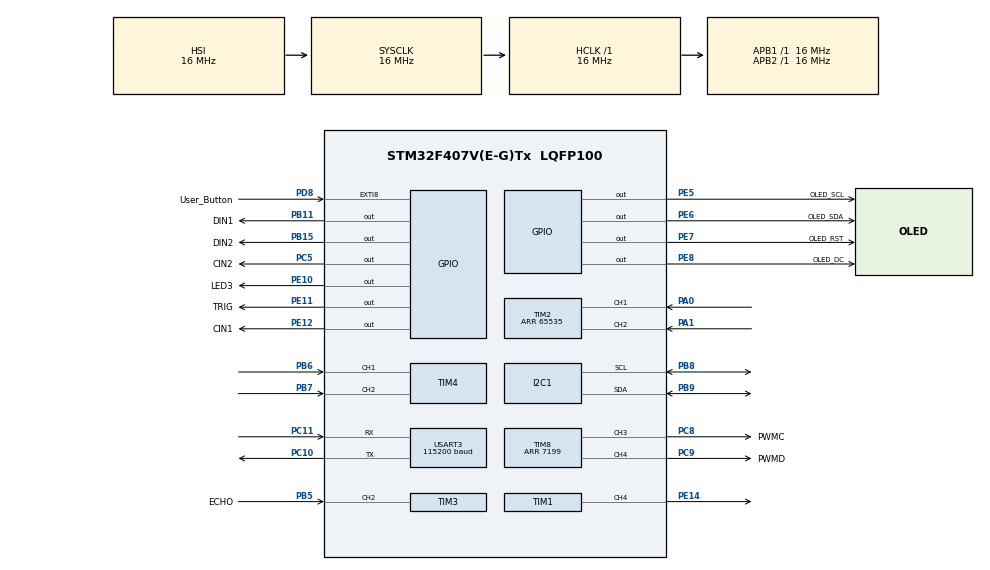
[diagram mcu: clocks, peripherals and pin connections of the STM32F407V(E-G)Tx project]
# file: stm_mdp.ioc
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FREERTOS.Tasks01=defaultTask,24,128,StartDefaultTask,Default,NULL,Dynamic,NULL,NULL;oledTask,8,128,oledDisplayTask,Default,NULL,Dynamic,NULL,NULL;gyroTask,8,128,StartGyroTask,Default,NULL,Dynamic,NULL,NULL
FREERTOS.configUSE_NEWLIB_REENTRANT=1
Mcu.Family=STM32F4
Mcu.Name=STM32F407V(E-G)Tx
Mcu.Package=LQFP100
NVIC.EXTI9_5_IRQn=true\:5\:0\:false\:false\:true\:true\:true\:true\:true
NVIC.PriorityGroup=NVIC_PRIORITYGROUP_4
NVIC.TIM1_TRG_COM_TIM11_IRQn=true\:15\:0\:false\:false\:true\:false\:false\:true\:true
NVIC.TIM1_UP_TIM10_IRQn=true\:5\:0\:false\:false\:true\:true\:true\:true\:true
NVIC.TIM2_IRQn=true\:5\:0\:false\:false\:true\:true\:true\:true\:true
NVIC.TIM3_IRQn=true\:5\:0\:false\:false\:true\:true\:true\:true\:true
NVIC.TIM4_IRQn=true\:5\:0\:false\:false\:true\:true\:true\:true\:true
NVIC.TIM6_DAC_IRQn=true\:5\:0\:false\:false\:true\:true\:true\:true\:true
NVIC.TIM7_IRQn=true\:5\:0\:false\:false\:true\:true\:true\:true\:true
NVIC.TIM8_UP_TIM13_IRQn=true\:5\:0\:false\:false\:true\:true\:true\:true\:true
NVIC.TimeBase=TIM1_TRG_COM_TIM11_IRQn
NVIC.TimeBaseIP=TIM11
NVIC.USART3_IRQn=true\:5\:0\:false\:false\:true\:true\:true\:true\:true
PA0-WKUP.Signal=S_TIM2_CH1_ETR
PA1.Signal=S_TIM2_CH2
PA13.Mode=Serial_Wire
PA13.Signal=SYS_JTMS-SWDIO
PA14.Mode=Serial_Wire
PA14.Signal=SYS_JTCK-SWCLK
PB11.GPIO_Label=DIN1
PB11.GPIO_Speed=GPIO_SPEED_FREQ_HIGH
PB11.Signal=GPIO_Output
PB15.GPIO_Label=DIN2
PB15.GPIO_Speed=GPIO_SPEED_FREQ_HIGH
PB15.Signal=GPIO_Output
PB5.GPIO_Label=ECHO
PB5.Signal=S_TIM3_CH2
PB6.Signal=S_TIM4_CH1
PB7.Signal=S_TIM4_CH2
PB8.Mode=I2C
PB8.Signal=I2C1_SCL
PB9.Mode=I2C
PB9.Signal=I2C1_SDA
PC10.Mode=Asynchronous
PC10.Signal=USART3_TX
PC11.Mode=Asynchronous
PC11.Signal=USART3_RX
PC5.GPIO_Label=CIN2
PC5.GPIO_Speed=GPIO_SPEED_FREQ_HIGH
PC5.Signal=GPIO_Output
PC8.GPIO_Label=PWMC
PC8.Signal=S_TIM8_CH3
PC9.GPIO_Label=PWMD
PC9.Signal=S_TIM8_CH4
PD8.GPIO_Label=User_Button
PD8.GPIO_ModeDefaultEXTI=GPIO_MODE_IT_RISING
PD8.Signal=GPXTI8
PE10.GPIO_Label=LED3
PE10.Signal=GPIO_Output
PE11.GPIO_Label=TRIG
PE11.Signal=GPIO_Output
PE12.GPIO_Label=CIN1
PE12.GPIO_Speed=GPIO_SPEED_FREQ_HIGH
PE12.Signal=GPIO_Output
PE14.GPIO_Speed=GPIO_SPEED_FREQ_VERY_HIGH
PE14.Signal=S_TIM1_CH4
PE5.GPIO_Label=OLED_SCL
PE5.Signal=GPIO_Output
PE6.GPIO_Label=OLED_SDA
PE6.Signal=GPIO_Output
PE7.GPIO_Label=OLED_RST
PE7.Signal=GPIO_Output
PE8.GPIO_Label=OLED_DC
PE8.Signal=GPIO_Output
ProjectManager.HeapSize=0x200
ProjectManager.StackSize=0x400
ProjectManager.TargetToolchain=STM32CubeIDE
RCC.AHBFreq_Value=16000000
RCC.APB1Freq_Value=16000000
RCC.APB2Freq_Value=16000000
RCC.CortexFreq_Value=16000000
RCC.HSE_VALUE=25000000
RCC.HSI_VALUE=16000000
RCC.LSE_VALUE=32768
RCC.SYSCLKFreq_VALUE=16000000
RCC.VCOOutputFreq_Value=192000000
SH.S_TIM1_CH4.0=TIM1_CH4,PWM Generation4 CH4
SH.S_TIM2_CH1_ETR.0=TIM2_CH1,Encoder_Interface
SH.S_TIM2_CH2.0=TIM2_CH2,Encoder_Interface
SH.S_TIM3_CH2.0=TIM3_CH2,Input_Capture2_from_TI2
SH.S_TIM4_CH1.0=TIM4_CH1,Encoder_Interface
SH.S_TIM4_CH2.0=TIM4_CH2,Encoder_Interface
SH.S_TIM8_CH3.0=TIM8_CH3,PWM Generation3 CH3
SH.S_TIM8_CH4.0=TIM8_CH4,PWM Generation4 CH4
TIM1.AutoReloadPreload=TIM_AUTORELOAD_PRELOAD_ENABLE
TIM1.Channel-PWM\ Generation4\ CH4=TIM_CHANNEL_4
TIM1.Period=1000
TIM1.Prescaler=160
TIM10.Period=9999
TIM10.Prescaler=15
TIM13.Period=4999
TIM13.Prescaler=15
TIM2.EncoderMode=TIM_ENCODERMODE_TI12
TIM2.IC1Filter=10
TIM2.IC2Filter=10
TIM2.Period=65535
TIM3.Channel-Input_Capture2_from_TI2=TIM_CHANNEL_2
TIM3.Prescaler=15
TIM4.CounterMode=TIM_COUNTERMODE_UP
TIM4.EncoderMode=TIM_ENCODERMODE_TI12
TIM4.IC1Filter=10
TIM4.IC2Filter=10
TIM6.AutoReloadPreload=TIM_AUTORELOAD_PRELOAD_DISABLE
TIM6.Period=4999
TIM6.Prescaler=15
TIM7.AutoReloadPreload=TIM_AUTORELOAD_PRELOAD_DISABLE
TIM7.Period=4999
TIM7.Prescaler=15
TIM8.AutoReloadPreload=TIM_AUTORELOAD_PRELOAD_DISABLE
TIM8.Channel-PWM\ Generation3\ CH3=TIM_CHANNEL_3
TIM8.Channel-PWM\ Generation4\ CH4=TIM_CHANNEL_4
TIM8.Period=7199
USART3.BaudRate=115200
USART3.VirtualMode=VM_ASYNC
VP_FREERTOS_VS_CMSIS_V2.Mode=CMSIS_V2
VP_SYS_VS_tim11.Mode=TIM11
VP_TIM10_VS_ClockSourceINT.Mode=Enable_Timer
VP_TIM13_VS_ClockSourceINT.Mode=Enable_Timer
VP_TIM1_VS_ClockSourceINT.Mode=Internal
VP_TIM6_VS_ClockSourceINT.Mode=Enable_Timer
VP_TIM7_VS_ClockSourceINT.Mode=Enable_Timer
VP_TIM8_VS_ClockSourceINT.Mode=Internal
board=custom

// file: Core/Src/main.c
/* USER CODE BEGIN Header */
/**
 ******************************************************************************
 * @file           : main.c
 * @brief          : Main program body
 ******************************************************************************
 * @attention
 *
 * Copyright (c) 2023 STMicroelectronics.
 * All rights reserved.
 *
 * This software is licensed under terms that can be found in the LICENSE file
 * in the root directory of this software component.
 * If no LICENSE file comes with this software, it is provided AS-IS.
 *
 ******************************************************************************
 */
/* USER CODE END Header */
#include "main.h"
#include "cmsis_os.h"

I2C_HandleTypeDef hi2c1;

TIM_HandleTypeDef htim1;
TIM_HandleTypeDef htim2;
TIM_HandleTypeDef htim3;
TIM_HandleTypeDef htim4;
TIM_HandleTypeDef htim6;
TIM_HandleTypeDef htim7;
TIM_HandleTypeDef htim8;
TIM_HandleTypeDef htim10;
TIM_HandleTypeDef htim13;

UART_HandleTypeDef huart3;

/* Definitions for defaultTask */
osThreadId_t defaultTaskHandle;
const osThreadAttr_t defaultTask_attributes = {
  .name = "defaultTask",
  .stack_size = 128 * 4,
  .priority = (osPriority_t) osPriorityNormal,
};
/* Definitions for oledTask */
osThreadId_t oledTaskHandle;
const osThreadAttr_t oledTask_attributes = {
  .name = "oledTask",
  .stack_size = 128 * 4,
  .priority = (osPriority_t) osPriorityLow,
};
/* Definitions for gyroTask */
osThreadId_t gyroTaskHandle;
const osThreadAttr_t gyroTask_attributes = {
  .name = "gyroTask",
  .stack_size = 128 * 4,
  .priority = (osPriority_t) osPriorityLow,
};
/* USER CODE BEGIN PV */
//

uint8_t OLED_row0[20],OLED_row1[20],OLED_row2[20],OLED_row3[20],OLED_row4[20],OLED_row5[20];

volatile int start = 0;
volatile uint8_t isMoving = 0;
volatile uint8_t isAngle = 0;
uint8_t pidEnable = 1;
uint16_t SERVO_CENTER = 149;
double fullRotationWheel = 1580;
double circumferenceWheel = 21.3;
volatile double totalAngle =0;
double targetAngle = 0;
double targetDistance = 0;
volatile double ultrasonicDistance = 0;

int MINSPEED = 30;
int AVGSPEED = 50;
int MAXSPEED = 60;

encoder_instance encoderC, encoderD;
pid_instance motorCpid, motorDpid;
mov_aver_intance encoderCma, encoderDma;

pid_instance gyroPID;

uint8_t waitingForCommand = 1;
uint8_t direction = 0; //forward=1 or backward=0
uint8_t movement = ' '; //l,r,s
uint32_t magnitude = 0;

int indoor = 0;

float KP_MOTOR;
double KI_MOTOR;
float KD_MOTOR;

float KP_SERVO;
double KI_SERVO;
float KD_SERVO;

int ANGLE_STOP_OFFSET;
int STRAIGHT_MAX_SPEED;
int TURNING_MAX_SPEED;
float TURNING_SPEED_DIVISOR;

int tilted = 0;
int numOfEnd;
double memorizedDist = 0;

void setConstant(){
	if(indoor){
		sprintf(OLED_row1, "indoor");
		KP_MOTOR = 70;
		KI_MOTOR = 0.001;
		KD_MOTOR = 2000;

		KP_SERVO = 3;
		KI_SERVO = 0;//0.0001;
		KD_SERVO = 0;

		ANGLE_STOP_OFFSET = 2;
		STRAIGHT_MAX_SPEED = 70;
		TURNING_MAX_SPEED = 50;
		TURNING_SPEED_DIVISOR = 2;
		MINSPEED = 30;
		AVGSPEED = 50;
		MAXSPEED = 70;
	}else{
		sprintf(OLED_row1, "outdoor");
		KP_MOTOR = 70;
		KI_MOTOR = 0.001;
		KD_MOTOR = 2000;

		KP_SERVO = 3;
		KI_SERVO = 0.000001;//0.0001;
		KD_SERVO = 0;

		ANGLE_STOP_OFFSET = 2;
		STRAIGHT_MAX_SPEED = 45;
		TURNING_MAX_SPEED = 45;
		TURNING_SPEED_DIVISOR = 3;
		MINSPEED = 50;
		AVGSPEED = 50;
		MAXSPEED = 50;
	}
}

/* USER CODE END PV */

void SystemClock_Config(void);
static void MX_GPIO_Init(void);
static void MX_USART3_UART_Init(void);
static void MX_TIM1_Init(void);
static void MX_TIM2_Init(void);
static void MX_TIM4_Init(void);
static void MX_TIM8_Init(void);
static void MX_I2C1_Init(void);
static void MX_TIM6_Init(void);
static void MX_TIM7_Init(void);
static void MX_TIM10_Init(void);
static void MX_TIM13_Init(void);
static void MX_TIM3_Init(void);
void StartDefaultTask(void *argument);
void oledDisplayTask(void *argument);
void StartGyroTask(void *argument);

int main(void)
{

  /* MCU Configuration--------------------------------------------------------*/

  /* Reset of all peripherals, Initializes the Flash interface and the Systick. */
  HAL_Init();

  /* Configure the system clock */
  SystemClock_Config();

  /* Initialize all configured peripherals */
  MX_GPIO_Init();
  MX_USART3_UART_Init();
  MX_TIM1_Init();
  MX_TIM2_Init();
  MX_TIM4_Init();
  MX_TIM8_Init();
  MX_I2C1_Init();
  MX_TIM6_Init();
  MX_TIM7_Init();
  MX_TIM10_Init();
  MX_TIM13_Init();
  MX_TIM3_Init();
  /* USER CODE BEGIN 2 */
	OLED_Init();
	SerialComm_Init();

	//start timer
	HAL_TIM_PWM_Start(&htim8, TIM_CHANNEL_3); //motorC
	HAL_TIM_PWM_Start(&htim8, TIM_CHANNEL_4); //motorD
	HAL_TIM_PWM_Start(&htim1, TIM_CHANNEL_4); //servo motor
	HAL_TIM_Encoder_Start(&htim4, TIM_CHANNEL_ALL); //encoderC
	HAL_TIM_Encoder_Start(&htim2, TIM_CHANNEL_ALL); //encoderD

	//start task
	defaultTaskHandle = osThreadNew(StartDefaultTask, NULL, &defaultTask_attributes);
	oledTaskHandle = osThreadNew(oledDisplayTask, NULL, &oledTask_attributes);
	gyroTaskHandle = osThreadNew(StartGyroTask, NULL, &gyroTask_attributes);
  /* USER CODE END 2 */

  /* Init scheduler */
  osKernelInitialize();
/* USER CODE BEGIN Header */
/**
 ******************************************************************************
 * @file           : main.c
 * @brief          : Main program body
 ******************************************************************************
 * @attention
 *
 * Copyright (c) 2023 STMicroelectronics.
 * All rights reserved.
 *
 * This software is licensed under terms that can be found in the LICENSE file
 * in the root directory of this software component.
 * If no LICENSE file comes with this software, it is provided AS-IS.
 *
 ******************************************************************************
 */
/* USER CODE END Header */

  /* Start scheduler */
  osKernelStart();

  /* We should never get here as control is now taken by the scheduler */
  /* Infinite loop */
	while (1)
	{

	}
}

void SystemClock_Config(void)
{
  RCC_OscInitTypeDef RCC_OscInitStruct = {0};
  RCC_ClkInitTypeDef RCC_ClkInitStruct = {0};

  /** Configure the main internal regulator output voltage
  */
  __HAL_RCC_PWR_CLK_ENABLE();
  __HAL_PWR_VOLTAGESCALING_CONFIG(PWR_REGULATOR_VOLTAGE_SCALE1);

  /** Initializes the RCC Oscillators according to the specified parameters
  * in the RCC_OscInitTypeDef structure.
  */
  RCC_OscInitStruct.OscillatorType = RCC_OSCILLATORTYPE_HSI;
  RCC_OscInitStruct.HSIState = RCC_HSI_ON;
  RCC_OscInitStruct.HSICalibrationValue = RCC_HSICALIBRATION_DEFAULT;
  RCC_OscInitStruct.PLL.PLLState = RCC_PLL_NONE;
  if (HAL_RCC_OscConfig(&RCC_OscInitStruct) != HAL_OK)
  {
    Error_Handler();
  }

  /** Initializes the CPU, AHB and APB buses clocks
  */
  RCC_ClkInitStruct.ClockType = RCC_CLOCKTYPE_HCLK|RCC_CLOCKTYPE_SYSCLK
                              |RCC_CLOCKTYPE_PCLK1|RCC_CLOCKTYPE_PCLK2;
  RCC_ClkInitStruct.SYSCLKSource = RCC_SYSCLKSOURCE_HSI;
  RCC_ClkInitStruct.AHBCLKDivider = RCC_SYSCLK_DIV1;
  RCC_ClkInitStruct.APB1CLKDivider = RCC_HCLK_DIV1;
  RCC_ClkInitStruct.APB2CLKDivider = RCC_HCLK_DIV1;

  if (HAL_RCC_ClockConfig(&RCC_ClkInitStruct, FLASH_LATENCY_0) != HAL_OK)
  {
    Error_Handler();
  }
}

static void MX_I2C1_Init(void)
{

  hi2c1.Instance = I2C1;
  hi2c1.Init.ClockSpeed = 100000;
  hi2c1.Init.DutyCycle = I2C_DUTYCYCLE_2;
  hi2c1.Init.OwnAddress1 = 0;
  hi2c1.Init.AddressingMode = I2C_ADDRESSINGMODE_7BIT;
  hi2c1.Init.DualAddressMode = I2C_DUALADDRESS_DISABLE;
  hi2c1.Init.OwnAddress2 = 0;
  hi2c1.Init.GeneralCallMode = I2C_GENERALCALL_DISABLE;
  hi2c1.Init.NoStretchMode = I2C_NOSTRETCH_DISABLE;
  if (HAL_I2C_Init(&hi2c1) != HAL_OK)
  {
    Error_Handler();
  }

}

static void MX_TIM1_Init(void)
{

  TIM_ClockConfigTypeDef sClockSourceConfig = {0};
  TIM_MasterConfigTypeDef sMasterConfig = {0};
  TIM_OC_InitTypeDef sConfigOC = {0};
  TIM_BreakDeadTimeConfigTypeDef sBreakDeadTimeConfig = {0};

  htim1.Instance = TIM1;
  htim1.Init.Prescaler = 160;
  htim1.Init.CounterMode = TIM_COUNTERMODE_UP;
  htim1.Init.Period = 1000;
  htim1.Init.ClockDivision = TIM_CLOCKDIVISION_DIV1;
  htim1.Init.RepetitionCounter = 0;
  htim1.Init.AutoReloadPreload = TIM_AUTORELOAD_PRELOAD_ENABLE;
  if (HAL_TIM_Base_Init(&htim1) != HAL_OK)
  {
    Error_Handler();
  }
  sClockSourceConfig.ClockSource = TIM_CLOCKSOURCE_INTERNAL;
  if (HAL_TIM_ConfigClockSource(&htim1, &sClockSourceConfig) != HAL_OK)
  {
    Error_Handler();
  }
  if (HAL_TIM_PWM_Init(&htim1) != HAL_OK)
  {
    Error_Handler();
  }
  sMasterConfig.MasterOutputTrigger = TIM_TRGO_RESET;
  sMasterConfig.MasterSlaveMode = TIM_MASTERSLAVEMODE_DISABLE;
  if (HAL_TIMEx_MasterConfigSynchronization(&htim1, &sMasterConfig) != HAL_OK)
  {
    Error_Handler();
  }
  sConfigOC.OCMode = TIM_OCMODE_PWM1;
  sConfigOC.Pulse = 0;
  sConfigOC.OCPolarity = TIM_OCPOLARITY_HIGH;
  sConfigOC.OCFastMode = TIM_OCFAST_DISABLE;
  sConfigOC.OCIdleState = TIM_OCIDLESTATE_RESET;
  sConfigOC.OCNIdleState = TIM_OCNIDLESTATE_RESET;
  if (HAL_TIM_PWM_ConfigChannel(&htim1, &sConfigOC, TIM_CHANNEL_4) != HAL_OK)
  {
    Error_Handler();
  }
  sBreakDeadTimeConfig.OffStateRunMode = TIM_OSSR_DISABLE;
  sBreakDeadTimeConfig.OffStateIDLEMode = TIM_OSSI_DISABLE;
  sBreakDeadTimeConfig.LockLevel = TIM_LOCKLEVEL_OFF;
  sBreakDeadTimeConfig.DeadTime = 0;
  sBreakDeadTimeConfig.BreakState = TIM_BREAK_DISABLE;
  sBreakDeadTimeConfig.BreakPolarity = TIM_BREAKPOLARITY_HIGH;
  sBreakDeadTimeConfig.AutomaticOutput = TIM_AUTOMATICOUTPUT_DISABLE;
  if (HAL_TIMEx_ConfigBreakDeadTime(&htim1, &sBreakDeadTimeConfig) != HAL_OK)
  {
    Error_Handler();
  }
  HAL_TIM_MspPostInit(&htim1);

}

static void MX_TIM2_Init(void)
{

  TIM_Encoder_InitTypeDef sConfig = {0};
  TIM_MasterConfigTypeDef sMasterConfig = {0};

  htim2.Instance = TIM2;
  htim2.Init.Prescaler = 0;
  htim2.Init.CounterMode = TIM_COUNTERMODE_UP;
  htim2.Init.Period = 65535;
  htim2.Init.ClockDivision = TIM_CLOCKDIVISION_DIV1;
  htim2.Init.AutoReloadPreload = TIM_AUTORELOAD_PRELOAD_DISABLE;
  sConfig.EncoderMode = TIM_ENCODERMODE_TI12;
  sConfig.IC1Polarity = TIM_ICPOLARITY_RISING;
  sConfig.IC1Selection = TIM_ICSELECTION_DIRECTTI;
  sConfig.IC1Prescaler = TIM_ICPSC_DIV1;
  sConfig.IC1Filter = 10;
  sConfig.IC2Polarity = TIM_ICPOLARITY_RISING;
  sConfig.IC2Selection = TIM_ICSELECTION_DIRECTTI;
  sConfig.IC2Prescaler = TIM_ICPSC_DIV1;
  sConfig.IC2Filter = 10;
  if (HAL_TIM_Encoder_Init(&htim2, &sConfig) != HAL_OK)
  {
    Error_Handler();
  }
  sMasterConfig.MasterOutputTrigger = TIM_TRGO_RESET;
  sMasterConfig.MasterSlaveMode = TIM_MASTERSLAVEMODE_DISABLE;
  if (HAL_TIMEx_MasterConfigSynchronization(&htim2, &sMasterConfig) != HAL_OK)
  {
    Error_Handler();
  }

}

static void MX_TIM3_Init(void)
{

  TIM_MasterConfigTypeDef sMasterConfig = {0};
  TIM_IC_InitTypeDef sConfigIC = {0};

  htim3.Instance = TIM3;
  htim3.Init.Prescaler = 15;
  htim3.Init.CounterMode = TIM_COUNTERMODE_UP;
  htim3.Init.Period = 65535;
  htim3.Init.ClockDivision = TIM_CLOCKDIVISION_DIV1;
  htim3.Init.AutoReloadPreload = TIM_AUTORELOAD_PRELOAD_DISABLE;
  if (HAL_TIM_IC_Init(&htim3) != HAL_OK)
  {
    Error_Handler();
  }
  sMasterConfig.MasterOutputTrigger = TIM_TRGO_RESET;
  sMasterConfig.MasterSlaveMode = TIM_MASTERSLAVEMODE_DISABLE;
  if (HAL_TIMEx_MasterConfigSynchronization(&htim3, &sMasterConfig) != HAL_OK)
  {
    Error_Handler();
  }
  sConfigIC.ICPolarity = TIM_INPUTCHANNELPOLARITY_RISING;
  sConfigIC.ICSelection = TIM_ICSELECTION_DIRECTTI;
  sConfigIC.ICPrescaler = TIM_ICPSC_DIV1;
  sConfigIC.ICFilter = 0;
  if (HAL_TIM_IC_ConfigChannel(&htim3, &sConfigIC, TIM_CHANNEL_2) != HAL_OK)
  {
    Error_Handler();
  }

}

static void MX_TIM4_Init(void)
{

  TIM_Encoder_InitTypeDef sConfig = {0};
  TIM_MasterConfigTypeDef sMasterConfig = {0};

  htim4.Instance = TIM4;
  htim4.Init.Prescaler = 0;
  htim4.Init.CounterMode = TIM_COUNTERMODE_UP;
  htim4.Init.Period = 65535;
  htim4.Init.ClockDivision = TIM_CLOCKDIVISION_DIV1;
  htim4.Init.AutoReloadPreload = TIM_AUTORELOAD_PRELOAD_DISABLE;
  sConfig.EncoderMode = TIM_ENCODERMODE_TI12;
  sConfig.IC1Polarity = TIM_ICPOLARITY_RISING;
  sConfig.IC1Selection = TIM_ICSELECTION_DIRECTTI;
  sConfig.IC1Prescaler = TIM_ICPSC_DIV1;
  sConfig.IC1Filter = 10;
  sConfig.IC2Polarity = TIM_ICPOLARITY_RISING;
  sConfig.IC2Selection = TIM_ICSELECTION_DIRECTTI;
  sConfig.IC2Prescaler = TIM_ICPSC_DIV1;
  sConfig.IC2Filter = 10;
  if (HAL_TIM_Encoder_Init(&htim4, &sConfig) != HAL_OK)
  {
    Error_Handler();
  }
  sMasterConfig.MasterOutputTrigger = TIM_TRGO_RESET;
  sMasterConfig.MasterSlaveMode = TIM_MASTERSLAVEMODE_DISABLE;
  if (HAL_TIMEx_MasterConfigSynchronization(&htim4, &sMasterConfig) != HAL_OK)
  {
    Error_Handler();
  }

}

static void MX_TIM6_Init(void)
{

  TIM_MasterConfigTypeDef sMasterConfig = {0};

  htim6.Instance = TIM6;
  htim6.Init.Prescaler = 15;
  htim6.Init.CounterMode = TIM_COUNTERMODE_UP;
  htim6.Init.Period = 4999;
  htim6.Init.AutoReloadPreload = TIM_AUTORELOAD_PRELOAD_DISABLE;
  if (HAL_TIM_Base_Init(&htim6) != HAL_OK)
  {
    Error_Handler();
  }
  sMasterConfig.MasterOutputTrigger = TIM_TRGO_RESET;
  sMasterConfig.MasterSlaveMode = TIM_MASTERSLAVEMODE_DISABLE;
  if (HAL_TIMEx_MasterConfigSynchronization(&htim6, &sMasterConfig) != HAL_OK)
  {
    Error_Handler();
  }

}

static void MX_TIM7_Init(void)
{

  TIM_MasterConfigTypeDef sMasterConfig = {0};

  htim7.Instance = TIM7;
  htim7.Init.Prescaler = 15;
  htim7.Init.CounterMode = TIM_COUNTERMODE_UP;
  htim7.Init.Period = 4999;
  htim7.Init.AutoReloadPreload = TIM_AUTORELOAD_PRELOAD_DISABLE;
  if (HAL_TIM_Base_Init(&htim7) != HAL_OK)
  {
    Error_Handler();
  }
  sMasterConfig.MasterOutputTrigger = TIM_TRGO_RESET;
  sMasterConfig.MasterSlaveMode = TIM_MASTERSLAVEMODE_DISABLE;
  if (HAL_TIMEx_MasterConfigSynchronization(&htim7, &sMasterConfig) != HAL_OK)
  {
    Error_Handler();
  }

}

static void MX_TIM8_Init(void)
{

  TIM_ClockConfigTypeDef sClockSourceConfig = {0};
  TIM_MasterConfigTypeDef sMasterConfig = {0};
  TIM_OC_InitTypeDef sConfigOC = {0};
  TIM_BreakDeadTimeConfigTypeDef sBreakDeadTimeConfig = {0};

  htim8.Instance = TIM8;
  htim8.Init.Prescaler = 0;
  htim8.Init.CounterMode = TIM_COUNTERMODE_UP;
  htim8.Init.Period = 7199;
  htim8.Init.ClockDivision = TIM_CLOCKDIVISION_DIV1;
  htim8.Init.RepetitionCounter = 0;
  htim8.Init.AutoReloadPreload = TIM_AUTORELOAD_PRELOAD_DISABLE;
  if (HAL_TIM_Base_Init(&htim8) != HAL_OK)
  {
    Error_Handler();
  }
  sClockSourceConfig.ClockSource = TIM_CLOCKSOURCE_INTERNAL;
  if (HAL_TIM_ConfigClockSource(&htim8, &sClockSourceConfig) != HAL_OK)
  {
    Error_Handler();
  }
  if (HAL_TIM_PWM_Init(&htim8) != HAL_OK)
  {
    Error_Handler();
  }
  sMasterConfig.MasterOutputTrigger = TIM_TRGO_RESET;
  sMasterConfig.MasterSlaveMode = TIM_MASTERSLAVEMODE_DISABLE;
  if (HAL_TIMEx_MasterConfigSynchronization(&htim8, &sMasterConfig) != HAL_OK)
  {
    Error_Handler();
  }
  sConfigOC.OCMode = TIM_OCMODE_PWM1;
  sConfigOC.Pulse = 0;
  sConfigOC.OCPolarity = TIM_OCPOLARITY_HIGH;
  sConfigOC.OCNPolarity = TIM_OCNPOLARITY_HIGH;
  sConfigOC.OCFastMode = TIM_OCFAST_DISABLE;
  sConfigOC.OCIdleState = TIM_OCIDLESTATE_RESET;
  sConfigOC.OCNIdleState = TIM_OCNIDLESTATE_RESET;
  if (HAL_TIM_PWM_ConfigChannel(&htim8, &sConfigOC, TIM_CHANNEL_3) != HAL_OK)
  {
    Error_Handler();
  }
  if (HAL_TIM_PWM_ConfigChannel(&htim8, &sConfigOC, TIM_CHANNEL_4) != HAL_OK)
  {
    Error_Handler();
  }
  sBreakDeadTimeConfig.OffStateRunMode = TIM_OSSR_DISABLE;
  sBreakDeadTimeConfig.OffStateIDLEMode = TIM_OSSI_DISABLE;
  sBreakDeadTimeConfig.LockLevel = TIM_LOCKLEVEL_OFF;
  sBreakDeadTimeConfig.DeadTime = 0;
  sBreakDeadTimeConfig.BreakState = TIM_BREAK_DISABLE;
  sBreakDeadTimeConfig.BreakPolarity = TIM_BREAKPOLARITY_HIGH;
  sBreakDeadTimeConfig.AutomaticOutput = TIM_AUTOMATICOUTPUT_DISABLE;
  if (HAL_TIMEx_ConfigBreakDeadTime(&htim8, &sBreakDeadTimeConfig) != HAL_OK)
  {
    Error_Handler();
  }
  HAL_TIM_MspPostInit(&htim8);

}

static void MX_TIM10_Init(void)
{

  htim10.Instance = TIM10;
  htim10.Init.Prescaler = 15;
  htim10.Init.CounterMode = TIM_COUNTERMODE_UP;
  htim10.Init.Period = 9999;
  htim10.Init.ClockDivision = TIM_CLOCKDIVISION_DIV1;
  htim10.Init.AutoReloadPreload = TIM_AUTORELOAD_PRELOAD_DISABLE;
  if (HAL_TIM_Base_Init(&htim10) != HAL_OK)
  {
    Error_Handler();
  }

}

static void MX_TIM13_Init(void)
{

  htim13.Instance = TIM13;
  htim13.Init.Prescaler = 15;
  htim13.Init.CounterMode = TIM_COUNTERMODE_UP;
  htim13.Init.Period = 4999;
  htim13.Init.ClockDivision = TIM_CLOCKDIVISION_DIV1;
  htim13.Init.AutoReloadPreload = TIM_AUTORELOAD_PRELOAD_DISABLE;
  if (HAL_TIM_Base_Init(&htim13) != HAL_OK)
  {
    Error_Handler();
  }

}

static void MX_USART3_UART_Init(void)
{

  huart3.Instance = USART3;
  huart3.Init.BaudRate = 115200;
  huart3.Init.WordLength = UART_WORDLENGTH_8B;
  huart3.Init.StopBits = UART_STOPBITS_1;
  huart3.Init.Parity = UART_PARITY_NONE;
  huart3.Init.Mode = UART_MODE_TX_RX;
  huart3.Init.HwFlowCtl = UART_HWCONTROL_NONE;
  huart3.Init.OverSampling = UART_OVERSAMPLING_16;
  if (HAL_UART_Init(&huart3) != HAL_OK)
  {
    Error_Handler();
  }

}

static void MX_GPIO_Init(void)
{
  GPIO_InitTypeDef GPIO_InitStruct = {0};

  /* GPIO Ports Clock Enable */
  __HAL_RCC_GPIOE_CLK_ENABLE();
  __HAL_RCC_GPIOA_CLK_ENABLE();
  __HAL_RCC_GPIOC_CLK_ENABLE();
  __HAL_RCC_GPIOB_CLK_ENABLE();
  __HAL_RCC_GPIOD_CLK_ENABLE();

  /*Configure GPIO pin Output Level */
  HAL_GPIO_WritePin(GPIOE, OLED_SCL_Pin|OLED_SDA_Pin|OLED_RST_Pin|OLED_DC_Pin
                          |LED3_Pin|TRIG_Pin|CIN1_Pin, GPIO_PIN_RESET);

  /*Configure GPIO pin Output Level */
  HAL_GPIO_WritePin(CIN2_GPIO_Port, CIN2_Pin, GPIO_PIN_RESET);

  /*Configure GPIO pin Output Level */
  HAL_GPIO_WritePin(GPIOB, DIN1_Pin|DIN2_Pin, GPIO_PIN_RESET);

  /*Configure GPIO pins : OLED_SCL_Pin OLED_SDA_Pin OLED_RST_Pin OLED_DC_Pin
                           LED3_Pin TRIG_Pin */
  GPIO_InitStruct.Pin = OLED_SCL_Pin|OLED_SDA_Pin|OLED_RST_Pin|OLED_DC_Pin
                          |LED3_Pin|TRIG_Pin;
  GPIO_InitStruct.Mode = GPIO_MODE_OUTPUT_PP;
  GPIO_InitStruct.Pull = GPIO_NOPULL;
  GPIO_InitStruct.Speed = GPIO_SPEED_FREQ_LOW;
  HAL_GPIO_Init(GPIOE, &GPIO_InitStruct);

  /*Configure GPIO pin : CIN2_Pin */
  GPIO_InitStruct.Pin = CIN2_Pin;
  GPIO_InitStruct.Mode = GPIO_MODE_OUTPUT_PP;
  GPIO_InitStruct.Pull = GPIO_NOPULL;
  GPIO_InitStruct.Speed = GPIO_SPEED_FREQ_HIGH;
  HAL_GPIO_Init(CIN2_GPIO_Port, &GPIO_InitStruct);

  /*Configure GPIO pin : CIN1_Pin */
  GPIO_InitStruct.Pin = CIN1_Pin;
  GPIO_InitStruct.Mode = GPIO_MODE_OUTPUT_PP;
  GPIO_InitStruct.Pull = GPIO_NOPULL;
  GPIO_InitStruct.Speed = GPIO_SPEED_FREQ_HIGH;
  HAL_GPIO_Init(CIN1_GPIO_Port, &GPIO_InitStruct);

  /*Configure GPIO pins : DIN1_Pin DIN2_Pin */
  GPIO_InitStruct.Pin = DIN1_Pin|DIN2_Pin;
  GPIO_InitStruct.Mode = GPIO_MODE_OUTPUT_PP;
  GPIO_InitStruct.Pull = GPIO_NOPULL;
  GPIO_InitStruct.Speed = GPIO_SPEED_FREQ_HIGH;
  HAL_GPIO_Init(GPIOB, &GPIO_InitStruct);

  /*Configure GPIO pin : User_Button_Pin */
  GPIO_InitStruct.Pin = User_Button_Pin;
  GPIO_InitStruct.Mode = GPIO_MODE_IT_RISING;
  GPIO_InitStruct.Pull = GPIO_NOPULL;
  HAL_GPIO_Init(User_Button_GPIO_Port, &GPIO_InitStruct);

  /* EXTI interrupt init*/
  HAL_NVIC_SetPriority(EXTI9_5_IRQn, 5, 0);
  HAL_NVIC_EnableIRQ(EXTI9_5_IRQn);

}

/* USER CODE BEGIN 4 */

void HAL_GPIO_EXTI_Callback( uint16_t GPIO_Pin ) {
	if(GPIO_Pin == User_Button_Pin){
		if(start == 0){
			start = 1;
		}
		totalAngle = 0;
	}
}

void resetCar(){
	encoder_reset(&encoderC);
	encoder_reset(&encoderD);

	pid_reset(&motorCpid);
	pid_reset(&motorDpid);

	reset_average_filter(&encoderCma);
	reset_average_filter(&encoderDma);

	targetAngle = 0;
	targetDistance = 0;
}

/* USER CODE END 4 */

void StartDefaultTask(void *argument)
{
  /* USER CODE BEGIN 5 */
	setConstant();
	HAL_TIM_IC_Start_IT(&htim3, TIM_CHANNEL_2);
	getUltrasonicDistance();

	sprintf(OLED_row0, "start");
	resetCar();
	encoder_reset_counter(&encoderC, &htim4);
	encoder_reset_counter(&encoderD, &htim2);

	pid_reset(&gyroPID);

	pidEnable = 1;
	htim1.Instance->CCR4 = SERVO_CENTER;

	int numLeft = 0;
	int numRight = 0;

	int firstTurn = 0; //0=left ,1=right

	for (;;)
	{
		if (start == 1)
		{
			indoor = 1 - indoor;
			setConstant();
			start=0;
			continue;
		}

		if(!isEmpty()){
			if(!dequeue())//when return 0
				continue;

			if(tilted == 1){ //week 9
				turnLeft(1,10);
			}else if(tilted == 2){
				turnRight(1,10);
			}

//			if(tilted == 1){ //week 8
//				turnLeft(1,20);
//			}else if(tilted == 2){
//				turnRight(1,20);
//			}
//			else if(numOfEnd >= 6)
//			{
//				if(tilted == 4)
//				{
//					turnLeft(1, 10);
//					forward(1, 10);
//				}
//				else if(tilted == 3)
//				{
//					turnRight(1, 10);
//					forward(1, 10);
//				}
//			}

			if(movement == 'Q'){
				tilted = 0;
				sensorDistance(30);
			}
			else if(movement == 'W'){
				tilted = 0;
				firstTurn = 0;
				path1Left();
			}
			else if(movement == 'E'){
				tilted = 0;
				firstTurn = 1;
				path1Right();
			}
			else if(movement == 'R'){
				tilted = 0;
				if(firstTurn){
					path2RightLeft();
				}else{
					path2LeftLeft();
				}
			}
			else if(movement == 'T'){
				tilted = 0;
				if(firstTurn){
					path2RightRight();
				}else{
					path2LeftRight();
				}
			}

			else if(movement == 'S'){
				tilted = 0;
				forward(direction, magnitude/1000.0);
			}
			else if(movement == 'L'){
				tilted = 0;
				numLeft++;
				turnLeft(direction, magnitude/1000.0);
			}
			else if(movement == 'R'){
				tilted = 0;
				numRight++;
				turnRight(direction, magnitude/1000.0);
			}
			else if(movement == 'D') //sensor movement
			{
				tilted = 0;
				double targetDist = magnitude;
				sensorDistance(magnitude);
			}

			else if(movement == 'A'){ //FALSE000 week 9
				if(firstTurn){ //right side
					tilted=2;
					turnRight(0,10);
				}
				else{
					tilted = 1;
					turnLeft(0,10);
				}
			}
//			else if(movement == 'A'){ //FALSE000 week 8
//				if(numOfEnd >= 6)
//				{
//					if (tilted == 3 || (numLeft > numRight && tilted != 4))
//					{
//						tilted = 4;
//						forward(0, 10);
//						turnLeft(0, 10);
//					}
//					else
//					{
//						tilted = 3;
//						forward(0, 10);
//						turnRight(0, 10);
//					}
//				}
//				else if(tilted == 2 || (numLeft > numRight && tilted != 1)){
//					//tilt right
//					tilted = 1;
//					turnLeft(0,20);
//				}else {
//					//title left
//					tilted = 2;
//					turnRight(0,20);
//				}
//			}
			//sprintf(OLED_row4, "L %d R %d", numLeft, numRight);

		}
		osDelay(10);
	}

  /* USER CODE END 5 */
}

void oledDisplayTask(void *argument)
{
  /* USER CODE BEGIN oledDisplayTask */
	/* Infinite loop */
	//sprintf(OLED_row1, "OLED ready");
	for(;;)
	{
		OLED_Clear();
		OLED_ShowString(10,0,OLED_row0);
		OLED_ShowString(10,10,OLED_row1);
		OLED_ShowString(10,20,OLED_row2);
		OLED_ShowString(10,30,OLED_row3);
		OLED_ShowString(10,40,OLED_row4);
		OLED_ShowString(10,50,OLED_row5);
		OLED_Refresh_Gram();
		osDelay(1000);
	}
  /* USER CODE END oledDisplayTask */
}

void StartGyroTask(void *argument)
{
  /* USER CODE BEGIN StartGyroTask */
	gyro_Init();
	uint8_t val[2] = {0, 0};
	uint32_t currentTick, previousTick=0;

	int16_t angularSpeed = 0;
	double measuredAngle = 0;
	totalAngle = 0;

	previousTick = HAL_GetTick();

	double off = 360.0/356.75;

	/* Infinite loop */
	for(;;)
	{
		currentTick = HAL_GetTick(); //millisecond
		if(currentTick - previousTick >= 50L){
			readByte(0x37, val); //read GYRO_ZOUT_H and GYRO_ZOUT_L since we pass val which is 16 bit
			angularSpeed = (val[0] << 8) | val[1]; //(highByte * 256) + lowByte; degree/second
			//when it is not moving, it is hovering at around this range
			if(!isMoving && angularSpeed >= -10 && angularSpeed <= 10)
				measuredAngle = 0.0;
			else
				measuredAngle = ((double)(angularSpeed)) * ((currentTick - previousTick) / 16400.0)*off;

			totalAngle += measuredAngle;

			if(totalAngle >= 720)
				totalAngle -=720;
			if(totalAngle <= -720)
				totalAngle +=720;

			sprintf(OLED_row0, "gy %d", (long)totalAngle);
			previousTick = HAL_GetTick();
		}
		osDelay(10);
	}
  /* USER CODE END StartGyroTask */
}

void HAL_TIM_PeriodElapsedCallback(TIM_HandleTypeDef *htim)
{
  /* USER CODE BEGIN Callback 0 */
	if(htim ==&htim10 && isMoving){
		//turning
		if (isAngle)
		{
			if(abs(targetAngle) - abs(totalAngle) <= 25){
				if (motorCpid.target == TURNING_MAX_SPEED || motorDpid.target == TURNING_MAX_SPEED)
				{
					motorCpid.target /= TURNING_SPEED_DIVISOR;
					motorDpid.target /= TURNING_SPEED_DIVISOR;
				}
			}
			if (htim1.Instance->CCR4 <= SERVO_CENTER){ // Turning Left
				if(totalAngle >= targetAngle-ANGLE_STOP_OFFSET && encoderC.direction == 1){
					motorStop();
					return;
				}
				if(totalAngle <= targetAngle+ANGLE_STOP_OFFSET && encoderC.direction == 0){
					motorStop();
					return;
				}
			}
			if (htim1.Instance->CCR4 >= SERVO_CENTER){ // Turning Right
				if(totalAngle <= targetAngle+ANGLE_STOP_OFFSET && encoderC.direction == 1){
					motorStop();
					return;
				}
				if(totalAngle >= targetAngle-ANGLE_STOP_OFFSET && encoderC.direction == 0){
					motorStop();
					return;
				}
			}
		}
		//moving straight/reverse
		else if(targetDistance != 0){
			double avgDist = (encoderC.distance+encoderD.distance)/2.0;
			if(avgDist >= targetDistance){
				motorStop();
			}
			if(avgDist >= targetDistance-10){
				setTarget(&motorCpid, 15);
				setTarget(&motorDpid, 15);
			}
//			else if(avgDist >= targetDistance-10){
//				setTarget(&motorCpid,targetDistance-avgDist);
//				setTarget(&motorDpid,targetDistance-avgDist);
//			}
//			else if(avgDist <= 2){
//				setTarget(&motorCpid, 3);
//				setTarget(&motorDpid, 3);
//			}
			else if(avgDist <= 10){
				setTarget(&motorCpid, 15);
				setTarget(&motorDpid, 15);
			}
			else {
				setTarget(&motorCpid, STRAIGHT_MAX_SPEED);
				setTarget(&motorDpid, STRAIGHT_MAX_SPEED);
			}
			sprintf(OLED_row1, "dist %d", (int)avgDist);
		}
		return;
	}

	if(htim==&htim7 && isMoving){
		update_encoder(&encoderC, &htim4);
//		sprintf(OLED_row2, "velC %d", encoderC.velocity);

		if(!pidEnable)
			return;

		apply_average_filter(&encoderCma, encoderC.velocity);
		apply_pid(&motorCpid, encoderCma.out);

		__HAL_TIM_SetCompare(&htim8, TIM_CHANNEL_3, motorCpid.output);

		//sprintf(OLED_row4, "pwmC %d", motorCpid.output);
		//printVelocity(encoderC.velocity,encoderD.velocity);
		return;
	}
	if(htim==&htim6 && isMoving){
		update_encoder(&encoderD, &htim2);
		//sprintf(OLED_row3, "velD %d", encoderD.velocity);

		if(!pidEnable)
			return;

		apply_average_filter(&encoderDma, encoderD.velocity);
		apply_pid(&motorDpid, encoderDma.out);

		__HAL_TIM_SetCompare(&htim8, TIM_CHANNEL_4, motorDpid.output);

//		sprintf(OLED_row3, "pwmD %d", motorDpid.output);
		//printVelocity(encoderC.velocity,encoderD.velocity);
		return;
	}

  /* USER CODE END Callback 0 */
  if (htim->Instance == TIM11) {
    HAL_IncTick();
  }
}

void Error_Handler(void)
{
	__disable_irq();
	while (1)
	{
	}
}
